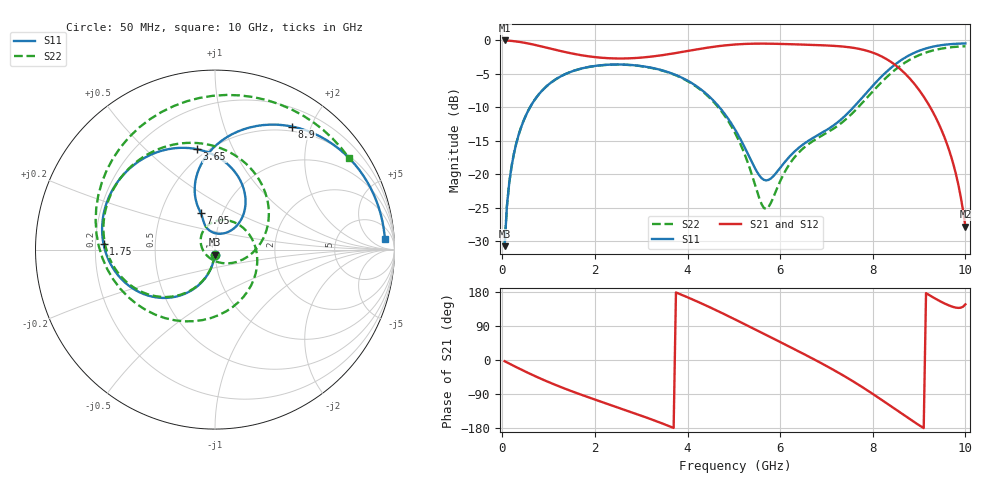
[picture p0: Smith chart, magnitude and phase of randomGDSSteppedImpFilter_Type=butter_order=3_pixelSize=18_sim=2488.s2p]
! freq	dB(S11)	phase(S11)	dB(S12)	phase(S12)
!  dB(S21)	phase(S21)	dB(S22)	phase(S22)
!S-par simulation data
#  GHz  S  DB  R 50
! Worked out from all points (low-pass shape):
!   200 points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, 50 MHz to 10 GHz, reference 50 ohm
!   highest |S21| = -0.01 dB at 50 MHz (marker M1); lowest = -27.8 dB at 10 GHz (marker M2)
!   |S21| within 3 dB of the highest: start of sweep to 8.348 GHz
!   lowest |S11| = -30.7 dB at 50 MHz (marker M3), VSWR 1.06, Z = 49.8 - j2.88 ohm
!   |S11| at or under -10 dB: start of sweep to 598.2 MHz; 4.691 GHz to 7.583 GHz (2.893 GHz wide, 47.1 % of centre)
!   |S22| runs from -30.8 to -0.9 dB; largest |S21 - S12| = 0
!   S11 on the Smith chart (normalised r, x): 50 MHz: 1.00, -0.06; 1.75 GHz: 0.23, +0.02; 3.65 GHz: 0.44, +0.73; 7.05 GHz: 0.79, +0.34; 8.9 GHz: 0.43, +1.73; 10 GHz: 17, +19
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0.05  -30.75 -93.2  -0.01 -3.2  -0.01 -3.2  -30.75 -93.3
0.2  -18.83 -102.9  -0.08 -12.5  -0.08 -12.5  -18.84 -103.2
0.5  -11.35 -120.9  -0.38 -30.7  -0.38 -30.7  -11.35 -121.6
1.05  -6.31 -150.6  -1.24 -60.8  -1.24 -60.8  -6.32 -152.1
1.75  -4.13 177.3  -2.26 -93.6  -2.26 -93.6  -4.14 174.4
2.5  -3.59 146.8  -2.70 -125.5  -2.70 -125.5  -3.61 141.5
3.4  -4.37 110.6  -2.26 -164.9  -2.26 -164.9  -4.40 99.6
3.65  -4.91 100.1  -2.00 -176.8  -2.00 -176.8  -4.95 86.6
4.35  -7.66 70.5  -1.17 146.6  -1.17 146.6  -7.77 45.1
5.05  -13.60 48.3  -0.60 105.6  -0.60 105.6  -14.16 -9.1
5.7  -20.92 82.2  -0.48 65.9  -0.48 65.9  -25.19 -133.0
6.25  -17.02 111.9  -0.57 32.1  -0.57 32.1  -18.01 119.8
6.7  -14.62 111.6  -0.67 3.8  -0.67 3.8  -15.08 67.9
7.05  -13.19 111.4  -0.77 -19.2  -0.77 -19.2  -13.63 24.4
7.75  -8.72 107.9  -1.33 -69.7  -1.33 -69.7  -9.51 -72.7
8.05  -6.40 99.5  -1.96 -93.6  -1.96 -93.6  -7.24 -113.1
8.35  -4.36 86.8  -3.02 -118.5  -3.02 -118.5  -5.17 -151.4
8.65  -2.78 71.4  -4.64 -143.6  -4.64 -143.6  -3.53 172.4
8.9  -1.84 57.9  -6.51 -164.1  -6.51 -164.1  -2.52 143.7
9.45  -0.74 28.9  -12.85 155.3  -12.85 155.3  -1.27 85.8
9.8  -0.50 12.2  -20.10 138.1  -20.10 138.1  -0.95 52.5
10  -0.46 3.4  -27.84 146.9  -27.84 146.9  -0.87 34.6
